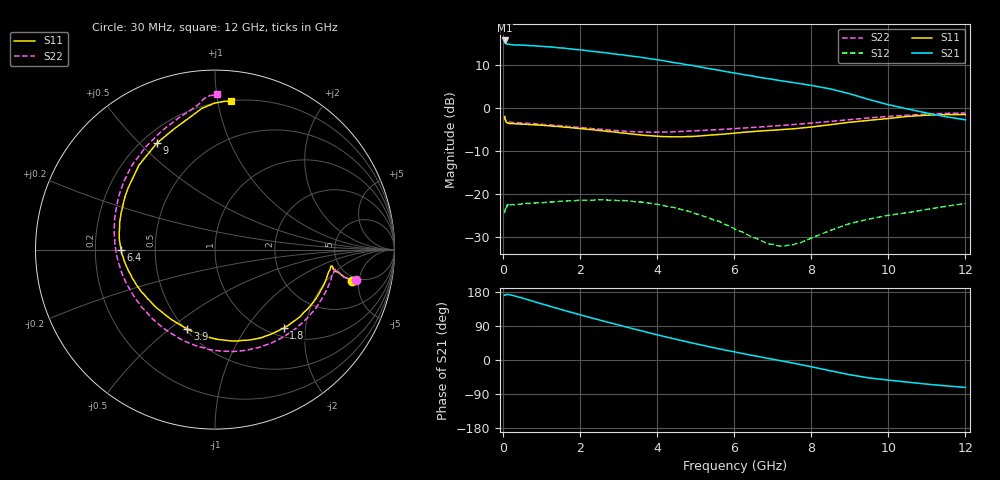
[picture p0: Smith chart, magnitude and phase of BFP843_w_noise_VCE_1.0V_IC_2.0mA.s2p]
! Infineon Technologies  Discrete & RF Semiconductors
! BFP843
! VCE =  1.0 V,  IC =  2.0 mA
! Common Emitter S-Parameters:  Aug 2013
# GHz  S  MA  R  50
!  f  S11  S21  S12  S22
! GHz  MAG  ANG  MAG  ANG  MAG  ANG  MAG  ANG
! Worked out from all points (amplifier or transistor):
!   103 points, 30 MHz to 12 GHz, reference 50 ohm
!   highest |S21| = 15.6 dB at 30 MHz (marker M1)
!   |S21| within 3 dB of that: start of sweep to 2.762 GHz
!   unconditionally stable (mu >= 1): 138.2 MHz to 792 MHz; 3.14 GHz to 11.49 GHz
!   at 400 MHz: K = 1.02, MAG = 17.7 dB, |S12| = -22.5 dB
!   at 3.7 GHz: K = 1.08, MAG = 15.1 dB, |S12| = -22.1 dB
!   at 12 GHz: K = 0.94, MSG = 9.7 dB, |S12| = -22.3 dB
!   lowest NFmin = 1.16 dB at 450 MHz
!   S11 on the Smith chart (normalised r, x): 30 MHz: 4.53, -4.05; 1.8 GHz: 1.16, -1.53; 3.9 GHz: 0.51, -0.58; 6.4 GHz: 0.31, -0.00; 9 GHz: 0.26, +0.56; 12 GHz: 0.21, +1.09
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0.03  0.7836 -12.7  6.029 170.9  0.0592 38.4  0.8031 -12.3
0.05  0.7152 -11.2  5.682 172.6  0.0662 26.1  0.7329 -12.0
0.07  0.6811 -10.2  5.519 172.7  0.0717 17.3  0.7021 -10.4
0.13  0.6599 -8.1  5.447 173.0  0.0763 10.9  0.6775 -9.6
0.8  0.6301 -22.1  5.244 154.0  0.0778 -0.3  0.6498 -30.1
1.3  0.6065 -35.2  5.042 139.0  0.0801 -4.2  0.6234 -47.9
1.8  0.5813 -48.7  4.781 124.7  0.0826 -8.6  0.5978 -65.8
2.1  0.5641 -56.9  4.63 116.2  0.0838 -12.8  0.5811 -76.5
2.6  0.535 -70.7  4.369 102.7  0.085 -18.8  0.5576 -93.7
3.1  0.5054 -85.0  4.107 89.5  0.0831 -25.3  0.534 -111.3
3.9  0.4678 -109.2  3.647 68.8  0.0759 -36.2  0.5162 -138.5
4.1  0.4612 -115.6  3.538 63.9  0.0735 -39.3  0.5181 -144.7
4.6  0.4568 -131.9  3.251 51.9  0.0658 -45.2  0.5281 -158.5
5.1  0.4671 -147.4  2.976 40.4  0.0568 -50.6  0.5405 -170.8
6.1  0.5094 -172.8  2.478 19.4  0.0372 -52.0  0.573 168.5
6.4  0.5228 -179.8  2.356 13.4  0.0322 -47.5  0.5854 162.7
7.3  0.5576 160.6  2.024 -3.9  0.0246 -19.8  0.624 146.5
8.5  0.6335 131.9  1.644 -28.6  0.0375 5.8  0.6907 123.8
9  0.6757 118.7  1.446 -38.9  0.045 5.4  0.7252 114.1
9.5  0.7115 108.4  1.24 -47.3  0.0506 3.7  0.7593 105.8
10.5  0.7895 95.4  0.964 -58.4  0.0601 -0.1  0.8154 96.3
12  0.8301 83.8  0.721 -72.4  0.0768 -8.6  0.8647 89.1
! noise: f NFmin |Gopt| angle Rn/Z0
0.45  1.16  0.34  9  0.05
0.9  1.19  0.35  19  0.08
1.5  1.25  0.34  31  0.18
1.9  1.3  0.33  40  0.27
2.4  1.38  0.32  50  0.36
3.5  1.55  0.27  71  0.52
5.5  1.89  0.22  159  0.56
10  2.91  0.58  -85  0.63
